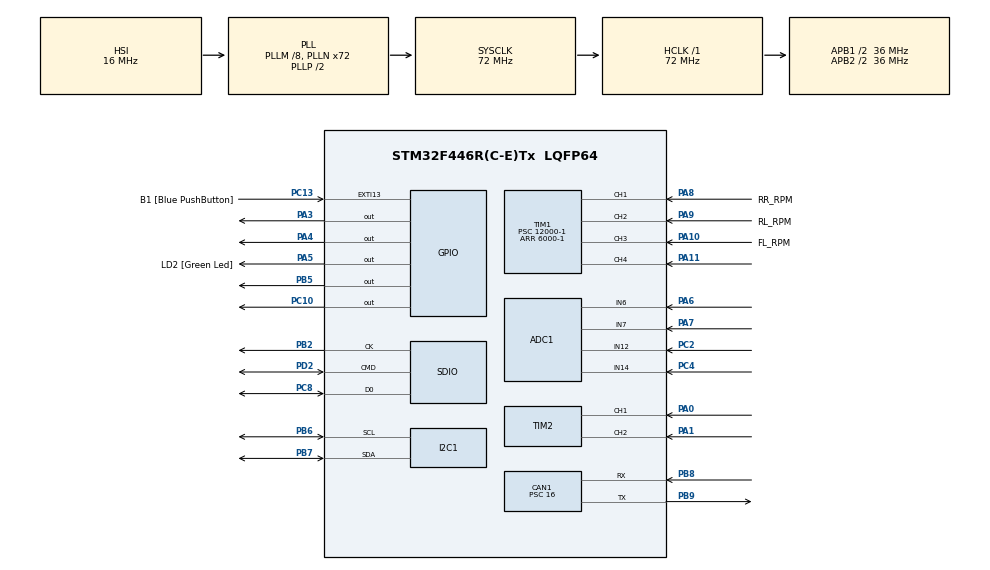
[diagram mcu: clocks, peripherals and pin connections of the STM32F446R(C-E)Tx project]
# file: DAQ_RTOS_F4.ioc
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ADC1.Channel-0\#ChannelRegularConversion=ADC_CHANNEL_12
ADC1.Channel-1\#ChannelRegularConversion=ADC_CHANNEL_6
ADC1.Channel-2\#ChannelRegularConversion=ADC_CHANNEL_7
ADC1.Channel-3\#ChannelRegularConversion=ADC_CHANNEL_14
ADC1.ContinuousConvMode=ENABLE
ADC1.DMAContinuousRequests=ENABLE
ADC1.InjNumberOfConversion=0
ADC1.NbrOfConversion=4
ADC1.NbrOfConversionFlag=1
ADC1.Rank-0\#ChannelRegularConversion=1
ADC1.Rank-1\#ChannelRegularConversion=2
ADC1.Rank-2\#ChannelRegularConversion=3
ADC1.Rank-3\#ChannelRegularConversion=4
ADC1.SamplingTime-0\#ChannelRegularConversion=ADC_SAMPLETIME_3CYCLES
ADC1.SamplingTime-1\#ChannelRegularConversion=ADC_SAMPLETIME_3CYCLES
ADC1.SamplingTime-2\#ChannelRegularConversion=ADC_SAMPLETIME_3CYCLES
ADC1.SamplingTime-3\#ChannelRegularConversion=ADC_SAMPLETIME_3CYCLES
ADC1.ScanConvMode=ENABLE
ADC1.master=1
CAN1.BS1=CAN_BS1_15TQ
CAN1.BS2=CAN_BS2_2TQ
CAN1.CalculateBaudRate=125000
CAN1.CalculateTimeBit=8000
CAN1.CalculateTimeQuantum=444.44444444444446
CAN1.Prescaler=16
Dma.ADC1.0.Direction=DMA_PERIPH_TO_MEMORY
Dma.ADC1.0.FIFOMode=DMA_FIFOMODE_DISABLE
Dma.ADC1.0.Instance=DMA2_Stream0
Dma.ADC1.0.MemDataAlignment=DMA_MDATAALIGN_WORD
Dma.ADC1.0.MemInc=DMA_MINC_ENABLE
Dma.ADC1.0.Mode=DMA_CIRCULAR
Dma.ADC1.0.PeriphDataAlignment=DMA_PDATAALIGN_WORD
Dma.ADC1.0.PeriphInc=DMA_PINC_DISABLE
Dma.ADC1.0.Priority=DMA_PRIORITY_LOW
Dma.Request0=ADC1
FATFS._MAX_SS=4096
I2C1.I2C_Mode=I2C_Fast
Mcu.Family=STM32F4
Mcu.Name=STM32F446R(C-E)Tx
Mcu.Package=LQFP64
NVIC.PriorityGroup=NVIC_PRIORITYGROUP_4
NVIC.TIM1_CC_IRQn=true\:11\:0\:true\:false\:true\:true\:true\:true
NVIC.TIM6_DAC_IRQn=true\:15\:0\:false\:false\:true\:false\:true\:true
NVIC.TimeBase=TIM6_DAC_IRQn
NVIC.TimeBaseIP=TIM6
PA0-WKUP.GPIO_PuPd=GPIO_PULLUP
PA0-WKUP.Signal=S_TIM2_CH1_ETR
PA1.GPIO_PuPd=GPIO_PULLUP
PA1.Signal=S_TIM2_CH2
PA10.GPIO_Label=FL_RPM
PA10.Signal=S_TIM1_CH3
PA11.Signal=S_TIM1_CH4
PA13.GPIO_Label=TMS
PA13.Mode=Serial_Wire
PA13.Signal=SYS_JTMS-SWDIO
PA14.GPIO_Label=TCK
PA14.Mode=Serial_Wire
PA14.Signal=SYS_JTCK-SWCLK
PA3.Signal=GPIO_Output
PA4.Signal=GPIO_Output
PA5.GPIO_Label=LD2 [Green Led]
PA5.Signal=GPIO_Output
PA6.Signal=ADCx_IN6
PA7.Signal=ADCx_IN7
PA8.GPIO_Label=RR_RPM
PA8.Signal=S_TIM1_CH1
PA9.GPIO_Label=RL_RPM
PA9.Signal=S_TIM1_CH2
PB2.Mode=SD_1_bit
PB2.Signal=SDIO_CK
PB3.GPIO_Label=SWO
PB3.Signal=SYS_JTDO-SWO
PB5.Signal=GPIO_Output
PB6.Mode=I2C
PB6.Signal=I2C1_SCL
PB7.Mode=I2C
PB7.Signal=I2C1_SDA
PB8.GPIO_PuPd=GPIO_PULLUP
PB8.Mode=CAN_Activate
PB8.Signal=CAN1_RX
PB9.Mode=CAN_Activate
PB9.Signal=CAN1_TX
PC10.Signal=GPIO_Output
PC13.GPIO_Label=B1 [Blue PushButton]
PC13.GPIO_ModeDefaultEXTI=GPIO_MODE_IT_FALLING
PC13.Signal=GPXTI13
PC14-OSC32_IN.Mode=LSE-External-Oscillator
PC14-OSC32_IN.Signal=RCC_OSC32_IN
PC15-OSC32_OUT.Mode=LSE-External-Oscillator
PC15-OSC32_OUT.Signal=RCC_OSC32_OUT
PC2.Signal=ADCx_IN12
PC4.Signal=ADCx_IN14
PC8.Mode=SD_1_bit
PC8.Signal=SDIO_D0
PD2.Mode=SD_1_bit
PD2.Signal=SDIO_CMD
PH0-OSC_IN.Mode=HSE-External-Oscillator
PH0-OSC_IN.Signal=RCC_OSC_IN
PH1-OSC_OUT.Mode=HSE-External-Oscillator
PH1-OSC_OUT.Signal=RCC_OSC_OUT
ProjectManager.HeapSize=0x200
ProjectManager.StackSize=0x400
ProjectManager.TargetToolchain=MDK-ARM V5
RCC.48MHZClocksFreq_Value=84000000
RCC.AHBFreq_Value=72000000
RCC.APB1CLKDivider=RCC_HCLK_DIV2
RCC.APB1Freq_Value=36000000
RCC.APB1TimFreq_Value=72000000
RCC.APB2CLKDivider=RCC_HCLK_DIV2
RCC.APB2Freq_Value=36000000
RCC.APB2TimFreq_Value=72000000
RCC.CortexFreq_Value=72000000
RCC.FLatency-AdvancedSettings=FLASH_LATENCY_2
RCC.HCLKFreq_Value=72000000
RCC.HSE_VALUE=8000000
RCC.HSI_VALUE=16000000
RCC.PLLM=8
RCC.PLLN=72
RCC.PLLQ=3
RCC.SYSCLKFreq_VALUE=72000000
RCC.SYSCLKSource=RCC_SYSCLKSOURCE_PLLCLK
RCC.USBFreq_Value=48000000
RCC.VCOOutputFreq_Value=144000000
SDIO.ClockDiv=3
SH.ADCx_IN12.0=ADC1_IN12,IN12
SH.ADCx_IN14.0=ADC1_IN14,IN14
SH.ADCx_IN6.0=ADC1_IN6,IN6
SH.ADCx_IN7.0=ADC1_IN7,IN7
SH.S_TIM1_CH1.0=TIM1_CH1,Input_Capture1_from_TI1
SH.S_TIM1_CH2.0=TIM1_CH2,Input_Capture2_from_TI2
SH.S_TIM1_CH3.0=TIM1_CH3,Input_Capture3_from_TI3
SH.S_TIM1_CH4.0=TIM1_CH4,Input_Capture4_from_TI4
SH.S_TIM2_CH1_ETR.0=TIM2_CH1,Encoder_Interface
SH.S_TIM2_CH2.0=TIM2_CH2,Encoder_Interface
TIM1.Channel-Input_Capture1_from_TI1=TIM_CHANNEL_1
TIM1.Channel-Input_Capture2_from_TI2=TIM_CHANNEL_2
TIM1.Channel-Input_Capture3_from_TI3=TIM_CHANNEL_3
TIM1.Channel-Input_Capture4_from_TI4=TIM_CHANNEL_4
TIM1.ICPolarity_CH1=TIM_INPUTCHANNELPOLARITY_FALLING
TIM1.ICPolarity_CH2=TIM_INPUTCHANNELPOLARITY_FALLING
TIM1.ICPolarity_CH3=TIM_INPUTCHANNELPOLARITY_FALLING
TIM1.ICPolarity_CH4=TIM_INPUTCHANNELPOLARITY_FALLING
TIM1.Period=6000-1
TIM1.Prescaler=12000-1
VP_FATFS_VS_SDIO.Mode=SDIO
VP_SYS_VS_tim6.Mode=TIM6
board=NUCLEO-F446RE

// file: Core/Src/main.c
/* USER CODE BEGIN Header */
/**
  ******************************************************************************
  * @file           : main.c
  * @brief          : Main program body
  ******************************************************************************
  * @attention
  *
  * <h2><center>&copy; Copyright (c) 2021 STMicroelectronics.
  * All rights reserved.</center></h2>
  *
  * This software component is licensed by ST under BSD 3-Clause license,
  * the "License"; You may not use this file except in compliance with the
  * License. You may obtain a copy of the License at:
  *                        opensource.org/licenses/BSD-3-Clause
  *
  ******************************************************************************
  */
/* USER CODE END Header */
#include "main.h"
#include "fatfs.h"

/* USER CODE BEGIN Includes */
#include "FreeRTOS.h"
#include "task.h"

#include "IMU_Task.h"
#include "Proximity_Task.h"
#include "encoder.h"
#include "Travel_Task.h"
#include "Encoder_Task.h"
#include "CAN_Task.h"
#include "DataLogging_Task.h"

/* USER CODE END Includes */

 ADC_HandleTypeDef hadc1;
DMA_HandleTypeDef hdma_adc1;

CAN_HandleTypeDef hcan1;

I2C_HandleTypeDef hi2c1;

SD_HandleTypeDef hsd;

TIM_HandleTypeDef htim1;
TIM_HandleTypeDef htim2;

/* USER CODE BEGIN PV */
	TaskHandle_t IMU_Task1_Handle;
	TaskHandle_t Proximity_Task2_Handle;
	TaskHandle_t ENCODER_Task3_Handle;
	TaskHandle_t TRAVEL_Task4_Handle;
	TaskHandle_t CAN_Task5_Handle;
	TaskHandle_t LOG_Task6_Handle;

	BaseType_t status;
/* USER CODE END PV */

void SystemClock_Config(void);
static void MX_GPIO_Init(void);
static void MX_DMA_Init(void);
static void MX_ADC1_Init(void);
static void MX_CAN1_Init(void);
static void MX_TIM1_Init(void);
static void MX_TIM2_Init(void);
static void MX_I2C1_Init(void);
static void MX_SDIO_SD_Init(void);
/* USER CODE BEGIN PFP */
void DataLoggingInit(void);
void DataLoggingMainFucntion(void* ptr);
volatile uint32_t ADC_VALUE = 0;
/* USER CODE END PFP */

int main(void)
{

  /* MCU Configuration--------------------------------------------------------*/

  /* Reset of all peripherals, Initializes the Flash interface and the Systick. */
  HAL_Init();

  /* Configure the system clock */
  SystemClock_Config();

  /* Initialize all configured peripherals */
  MX_GPIO_Init();
  MX_DMA_Init();
  MX_ADC1_Init();
  MX_CAN1_Init();
  MX_TIM1_Init();
  MX_TIM2_Init();
  MX_I2C1_Init();
  MX_SDIO_SD_Init();
  MX_FATFS_Init();
  /* USER CODE BEGIN 2 */

	IMU_Task_INIT(&hi2c1,&hcan1);
	PROXIMITY_Task_INIT(&htim1,&hcan1);
	Encoder_Task_Init(&hcan1);
	Encoder_Init();
	Travel_Init();
	Travel_Task_Init(&hcan1);
	CAN_Task_INIT(&hcan1);

    status=xTaskCreate(IMU_Task,"IMU_TASK",configMINIMAL_STACK_SIZE,(void *)1,1,&IMU_Task1_Handle);
	configASSERT(status==pdPASS);

	status=xTaskCreate(PROXIMITY_Task,"PROXIMITY_TASK",configMINIMAL_STACK_SIZE,(void *)1,1,&Proximity_Task2_Handle);
	configASSERT(status==pdPASS);

	status=xTaskCreate(enc_angle_data_Task,"ENCODER_Task",configMINIMAL_STACK_SIZE,(void *)1,1,&ENCODER_Task3_Handle);
	configASSERT(status==pdPASS);

	status=xTaskCreate(travel_length_data_Task,"TRAVEL_TASK",configMINIMAL_STACK_SIZE,(void *)1,1,&TRAVEL_Task4_Handle);
	configASSERT(status==pdPASS);

	status=xTaskCreate(CAN_Task,"CAN_TASK",configMINIMAL_STACK_SIZE,(void *)1,1,&CAN_Task5_Handle);
	configASSERT(status==pdPASS);

	status=xTaskCreate(VehicleLogAllData,"LOG_TASK",1024*2,(void *)1,1,&LOG_Task6_Handle);
	configASSERT(status==pdPASS);

	vTaskStartScheduler();

  /* USER CODE END 2 */

  /* Infinite loop */
  /* USER CODE BEGIN WHILE */
  while (1)
  {
	//	CAN_Rx();
    /* USER CODE END WHILE */

  }
}

void SystemClock_Config(void)
{
  RCC_OscInitTypeDef RCC_OscInitStruct = {0};
  RCC_ClkInitTypeDef RCC_ClkInitStruct = {0};

  /** Configure the main internal regulator output voltage
  */
  __HAL_RCC_PWR_CLK_ENABLE();
  __HAL_PWR_VOLTAGESCALING_CONFIG(PWR_REGULATOR_VOLTAGE_SCALE3);

  /** Initializes the RCC Oscillators according to the specified parameters
  * in the RCC_OscInitTypeDef structure.
  */
  RCC_OscInitStruct.OscillatorType = RCC_OSCILLATORTYPE_HSI;
  RCC_OscInitStruct.HSIState = RCC_HSI_ON;
  RCC_OscInitStruct.HSICalibrationValue = RCC_HSICALIBRATION_DEFAULT;
  RCC_OscInitStruct.PLL.PLLState = RCC_PLL_ON;
  RCC_OscInitStruct.PLL.PLLSource = RCC_PLLSOURCE_HSI;
  RCC_OscInitStruct.PLL.PLLM = 8;
  RCC_OscInitStruct.PLL.PLLN = 72;
  RCC_OscInitStruct.PLL.PLLP = RCC_PLLP_DIV2;
  RCC_OscInitStruct.PLL.PLLQ = 3;
  RCC_OscInitStruct.PLL.PLLR = 2;
  if (HAL_RCC_OscConfig(&RCC_OscInitStruct) != HAL_OK)
  {
    Error_Handler();
  }

  /** Initializes the CPU, AHB and APB buses clocks
  */
  RCC_ClkInitStruct.ClockType = RCC_CLOCKTYPE_HCLK|RCC_CLOCKTYPE_SYSCLK
                              |RCC_CLOCKTYPE_PCLK1|RCC_CLOCKTYPE_PCLK2;
  RCC_ClkInitStruct.SYSCLKSource = RCC_SYSCLKSOURCE_PLLCLK;
  RCC_ClkInitStruct.AHBCLKDivider = RCC_SYSCLK_DIV1;
  RCC_ClkInitStruct.APB1CLKDivider = RCC_HCLK_DIV2;
  RCC_ClkInitStruct.APB2CLKDivider = RCC_HCLK_DIV2;

  if (HAL_RCC_ClockConfig(&RCC_ClkInitStruct, FLASH_LATENCY_2) != HAL_OK)
  {
    Error_Handler();
  }
}

static void MX_ADC1_Init(void)
{

  ADC_ChannelConfTypeDef sConfig = {0};

  /** Configure the global features of the ADC (Clock, Resolution, Data Alignment and number of conversion)
  */
  hadc1.Instance = ADC1;
  hadc1.Init.ClockPrescaler = ADC_CLOCK_SYNC_PCLK_DIV2;
  hadc1.Init.Resolution = ADC_RESOLUTION_12B;
  hadc1.Init.ScanConvMode = ENABLE;
  hadc1.Init.ContinuousConvMode = ENABLE;
  hadc1.Init.DiscontinuousConvMode = DISABLE;
  hadc1.Init.ExternalTrigConvEdge = ADC_EXTERNALTRIGCONVEDGE_NONE;
  hadc1.Init.ExternalTrigConv = ADC_SOFTWARE_START;
  hadc1.Init.DataAlign = ADC_DATAALIGN_RIGHT;
  hadc1.Init.NbrOfConversion = 4;
  hadc1.Init.DMAContinuousRequests = ENABLE;
  hadc1.Init.EOCSelection = ADC_EOC_SINGLE_CONV;
  if (HAL_ADC_Init(&hadc1) != HAL_OK)
  {
    Error_Handler();
  }

  /** Configure for the selected ADC regular channel its corresponding rank in the sequencer and its sample time.
  */
  sConfig.Channel = ADC_CHANNEL_12;
  sConfig.Rank = 1;
  sConfig.SamplingTime = ADC_SAMPLETIME_3CYCLES;
  if (HAL_ADC_ConfigChannel(&hadc1, &sConfig) != HAL_OK)
  {
    Error_Handler();
  }

  /** Configure for the selected ADC regular channel its corresponding rank in the sequencer and its sample time.
  */
  sConfig.Channel = ADC_CHANNEL_6;
  sConfig.Rank = 2;
  if (HAL_ADC_ConfigChannel(&hadc1, &sConfig) != HAL_OK)
  {
    Error_Handler();
  }

  /** Configure for the selected ADC regular channel its corresponding rank in the sequencer and its sample time.
  */
  sConfig.Channel = ADC_CHANNEL_7;
  sConfig.Rank = 3;
  if (HAL_ADC_ConfigChannel(&hadc1, &sConfig) != HAL_OK)
  {
    Error_Handler();
  }

  /** Configure for the selected ADC regular channel its corresponding rank in the sequencer and its sample time.
  */
  sConfig.Channel = ADC_CHANNEL_14;
  sConfig.Rank = 4;
  if (HAL_ADC_ConfigChannel(&hadc1, &sConfig) != HAL_OK)
  {
    Error_Handler();
  }

}

static void MX_CAN1_Init(void)
{

  hcan1.Instance = CAN1;
  hcan1.Init.Prescaler = 16;
  hcan1.Init.Mode = CAN_MODE_NORMAL;
  hcan1.Init.SyncJumpWidth = CAN_SJW_1TQ;
  hcan1.Init.TimeSeg1 = CAN_BS1_15TQ;
  hcan1.Init.TimeSeg2 = CAN_BS2_2TQ;
  hcan1.Init.TimeTriggeredMode = DISABLE;
  hcan1.Init.AutoBusOff = DISABLE;
  hcan1.Init.AutoWakeUp = DISABLE;
  hcan1.Init.AutoRetransmission = DISABLE;
  hcan1.Init.ReceiveFifoLocked = DISABLE;
  hcan1.Init.TransmitFifoPriority = DISABLE;
  if (HAL_CAN_Init(&hcan1) != HAL_OK)
  {
    Error_Handler();
  }

}

static void MX_I2C1_Init(void)
{

  hi2c1.Instance = I2C1;
  hi2c1.Init.ClockSpeed = 400000;
  hi2c1.Init.DutyCycle = I2C_DUTYCYCLE_2;
  hi2c1.Init.OwnAddress1 = 0;
  hi2c1.Init.AddressingMode = I2C_ADDRESSINGMODE_7BIT;
  hi2c1.Init.DualAddressMode = I2C_DUALADDRESS_DISABLE;
  hi2c1.Init.OwnAddress2 = 0;
  hi2c1.Init.GeneralCallMode = I2C_GENERALCALL_DISABLE;
  hi2c1.Init.NoStretchMode = I2C_NOSTRETCH_DISABLE;
  if (HAL_I2C_Init(&hi2c1) != HAL_OK)
  {
    Error_Handler();
  }

}

static void MX_SDIO_SD_Init(void)
{

  hsd.Instance = SDIO;
  hsd.Init.ClockEdge = SDIO_CLOCK_EDGE_RISING;
  hsd.Init.ClockBypass = SDIO_CLOCK_BYPASS_DISABLE;
  hsd.Init.ClockPowerSave = SDIO_CLOCK_POWER_SAVE_DISABLE;
  hsd.Init.BusWide = SDIO_BUS_WIDE_1B;
  hsd.Init.HardwareFlowControl = SDIO_HARDWARE_FLOW_CONTROL_DISABLE;
  hsd.Init.ClockDiv = 3;

}

static void MX_TIM1_Init(void)
{

  TIM_MasterConfigTypeDef sMasterConfig = {0};
  TIM_IC_InitTypeDef sConfigIC = {0};

  htim1.Instance = TIM1;
  htim1.Init.Prescaler = 12000-1;
  htim1.Init.CounterMode = TIM_COUNTERMODE_UP;
  htim1.Init.Period = 6000-1;
  htim1.Init.ClockDivision = TIM_CLOCKDIVISION_DIV1;
  htim1.Init.RepetitionCounter = 0;
  htim1.Init.AutoReloadPreload = TIM_AUTORELOAD_PRELOAD_DISABLE;
  if (HAL_TIM_IC_Init(&htim1) != HAL_OK)
  {
    Error_Handler();
  }
  sMasterConfig.MasterOutputTrigger = TIM_TRGO_RESET;
  sMasterConfig.MasterSlaveMode = TIM_MASTERSLAVEMODE_DISABLE;
  if (HAL_TIMEx_MasterConfigSynchronization(&htim1, &sMasterConfig) != HAL_OK)
  {
    Error_Handler();
  }
  sConfigIC.ICPolarity = TIM_INPUTCHANNELPOLARITY_FALLING;
  sConfigIC.ICSelection = TIM_ICSELECTION_DIRECTTI;
  sConfigIC.ICPrescaler = TIM_ICPSC_DIV1;
  sConfigIC.ICFilter = 0;
  if (HAL_TIM_IC_ConfigChannel(&htim1, &sConfigIC, TIM_CHANNEL_1) != HAL_OK)
  {
    Error_Handler();
  }
  if (HAL_TIM_IC_ConfigChannel(&htim1, &sConfigIC, TIM_CHANNEL_2) != HAL_OK)
  {
    Error_Handler();
  }
  if (HAL_TIM_IC_ConfigChannel(&htim1, &sConfigIC, TIM_CHANNEL_3) != HAL_OK)
  {
    Error_Handler();
  }
  if (HAL_TIM_IC_ConfigChannel(&htim1, &sConfigIC, TIM_CHANNEL_4) != HAL_OK)
  {
    Error_Handler();
  }

}

static void MX_TIM2_Init(void)
{

  TIM_Encoder_InitTypeDef sConfig = {0};
  TIM_MasterConfigTypeDef sMasterConfig = {0};

  htim2.Instance = TIM2;
  htim2.Init.Prescaler = 0;
  htim2.Init.CounterMode = TIM_COUNTERMODE_UP;
  htim2.Init.Period = 4294967295;
  htim2.Init.ClockDivision = TIM_CLOCKDIVISION_DIV1;
  htim2.Init.AutoReloadPreload = TIM_AUTORELOAD_PRELOAD_DISABLE;
  sConfig.EncoderMode = TIM_ENCODERMODE_TI1;
  sConfig.IC1Polarity = TIM_ICPOLARITY_RISING;
  sConfig.IC1Selection = TIM_ICSELECTION_DIRECTTI;
  sConfig.IC1Prescaler = TIM_ICPSC_DIV1;
  sConfig.IC1Filter = 0;
  sConfig.IC2Polarity = TIM_ICPOLARITY_RISING;
  sConfig.IC2Selection = TIM_ICSELECTION_DIRECTTI;
  sConfig.IC2Prescaler = TIM_ICPSC_DIV1;
  sConfig.IC2Filter = 0;
  if (HAL_TIM_Encoder_Init(&htim2, &sConfig) != HAL_OK)
  {
    Error_Handler();
  }
  sMasterConfig.MasterOutputTrigger = TIM_TRGO_RESET;
  sMasterConfig.MasterSlaveMode = TIM_MASTERSLAVEMODE_DISABLE;
  if (HAL_TIMEx_MasterConfigSynchronization(&htim2, &sMasterConfig) != HAL_OK)
  {
    Error_Handler();
  }

}

static void MX_DMA_Init(void)
{

  /* DMA controller clock enable */
  __HAL_RCC_DMA2_CLK_ENABLE();

}

static void MX_GPIO_Init(void)
{
  GPIO_InitTypeDef GPIO_InitStruct = {0};

  /* GPIO Ports Clock Enable */
  __HAL_RCC_GPIOC_CLK_ENABLE();
  __HAL_RCC_GPIOH_CLK_ENABLE();
  __HAL_RCC_GPIOA_CLK_ENABLE();
  __HAL_RCC_GPIOB_CLK_ENABLE();
  __HAL_RCC_GPIOD_CLK_ENABLE();

  /*Configure GPIO pin Output Level */
  HAL_GPIO_WritePin(GPIOA, GPIO_PIN_3|GPIO_PIN_4|LD2_Pin, GPIO_PIN_RESET);

  /*Configure GPIO pin Output Level */
  HAL_GPIO_WritePin(GPIOC, GPIO_PIN_10, GPIO_PIN_RESET);

  /*Configure GPIO pin Output Level */
  HAL_GPIO_WritePin(GPIOB, GPIO_PIN_5, GPIO_PIN_RESET);

  /*Configure GPIO pin : B1_Pin */
  GPIO_InitStruct.Pin = B1_Pin;
  GPIO_InitStruct.Mode = GPIO_MODE_IT_FALLING;
  GPIO_InitStruct.Pull = GPIO_NOPULL;
  HAL_GPIO_Init(B1_GPIO_Port, &GPIO_InitStruct);

  /*Configure GPIO pins : PA3 PA4 LD2_Pin */
  GPIO_InitStruct.Pin = GPIO_PIN_3|GPIO_PIN_4|LD2_Pin;
  GPIO_InitStruct.Mode = GPIO_MODE_OUTPUT_PP;
  GPIO_InitStruct.Pull = GPIO_NOPULL;
  GPIO_InitStruct.Speed = GPIO_SPEED_FREQ_LOW;
  HAL_GPIO_Init(GPIOA, &GPIO_InitStruct);

  /*Configure GPIO pin : PC10 */
  GPIO_InitStruct.Pin = GPIO_PIN_10;
  GPIO_InitStruct.Mode = GPIO_MODE_OUTPUT_PP;
  GPIO_InitStruct.Pull = GPIO_NOPULL;
  GPIO_InitStruct.Speed = GPIO_SPEED_FREQ_LOW;
  HAL_GPIO_Init(GPIOC, &GPIO_InitStruct);

  /*Configure GPIO pin : PB5 */
  GPIO_InitStruct.Pin = GPIO_PIN_5;
  GPIO_InitStruct.Mode = GPIO_MODE_OUTPUT_PP;
  GPIO_InitStruct.Pull = GPIO_NOPULL;
  GPIO_InitStruct.Speed = GPIO_SPEED_FREQ_LOW;
  HAL_GPIO_Init(GPIOB, &GPIO_InitStruct);

}

void HAL_TIM_PeriodElapsedCallback(TIM_HandleTypeDef *htim)
{
  if (htim->Instance == TIM6) {
    HAL_IncTick();
  }
}

void Error_Handler(void)
{
  __disable_irq();
  while (1)
  {
  }
}
